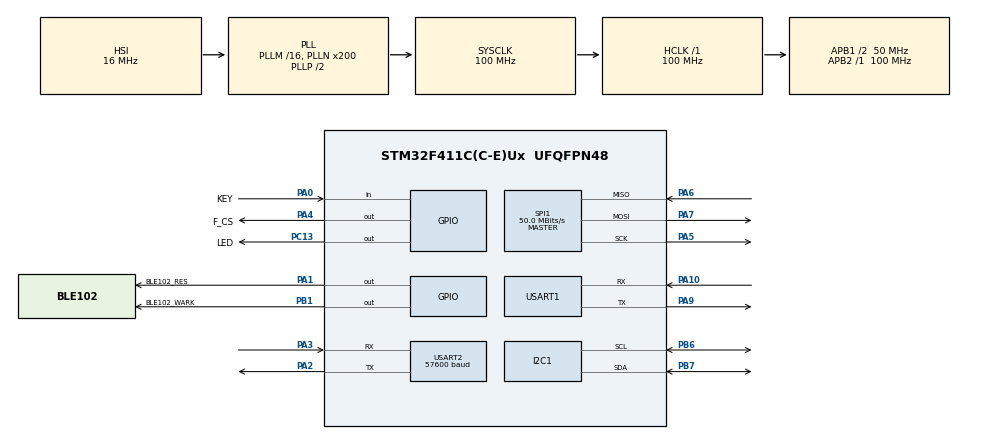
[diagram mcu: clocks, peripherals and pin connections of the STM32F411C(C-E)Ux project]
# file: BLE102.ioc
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Dma.Request0=USART2_TX
Dma.Request1=USART2_RX
Dma.Request2=USART1_RX
Dma.Request3=USART1_TX
Dma.USART1_RX.2.Direction=DMA_PERIPH_TO_MEMORY
Dma.USART1_RX.2.FIFOMode=DMA_FIFOMODE_DISABLE
Dma.USART1_RX.2.Instance=DMA2_Stream2
Dma.USART1_RX.2.MemDataAlignment=DMA_MDATAALIGN_BYTE
Dma.USART1_RX.2.MemInc=DMA_MINC_ENABLE
Dma.USART1_RX.2.Mode=DMA_NORMAL
Dma.USART1_RX.2.PeriphDataAlignment=DMA_PDATAALIGN_BYTE
Dma.USART1_RX.2.PeriphInc=DMA_PINC_DISABLE
Dma.USART1_RX.2.Priority=DMA_PRIORITY_LOW
Dma.USART1_TX.3.Direction=DMA_MEMORY_TO_PERIPH
Dma.USART1_TX.3.FIFOMode=DMA_FIFOMODE_DISABLE
Dma.USART1_TX.3.Instance=DMA2_Stream7
Dma.USART1_TX.3.MemDataAlignment=DMA_MDATAALIGN_BYTE
Dma.USART1_TX.3.MemInc=DMA_MINC_ENABLE
Dma.USART1_TX.3.Mode=DMA_NORMAL
Dma.USART1_TX.3.PeriphDataAlignment=DMA_PDATAALIGN_BYTE
Dma.USART1_TX.3.PeriphInc=DMA_PINC_DISABLE
Dma.USART1_TX.3.Priority=DMA_PRIORITY_LOW
Dma.USART2_RX.1.Direction=DMA_PERIPH_TO_MEMORY
Dma.USART2_RX.1.FIFOMode=DMA_FIFOMODE_DISABLE
Dma.USART2_RX.1.Instance=DMA1_Stream5
Dma.USART2_RX.1.MemDataAlignment=DMA_MDATAALIGN_BYTE
Dma.USART2_RX.1.MemInc=DMA_MINC_ENABLE
Dma.USART2_RX.1.Mode=DMA_NORMAL
Dma.USART2_RX.1.PeriphDataAlignment=DMA_PDATAALIGN_BYTE
Dma.USART2_RX.1.PeriphInc=DMA_PINC_DISABLE
Dma.USART2_RX.1.Priority=DMA_PRIORITY_LOW
Dma.USART2_TX.0.Direction=DMA_MEMORY_TO_PERIPH
Dma.USART2_TX.0.FIFOMode=DMA_FIFOMODE_DISABLE
Dma.USART2_TX.0.Instance=DMA1_Stream6
Dma.USART2_TX.0.MemDataAlignment=DMA_MDATAALIGN_BYTE
Dma.USART2_TX.0.MemInc=DMA_MINC_ENABLE
Dma.USART2_TX.0.Mode=DMA_NORMAL
Dma.USART2_TX.0.PeriphDataAlignment=DMA_PDATAALIGN_BYTE
Dma.USART2_TX.0.PeriphInc=DMA_PINC_DISABLE
Dma.USART2_TX.0.Priority=DMA_PRIORITY_LOW
Mcu.Family=STM32F4
Mcu.Name=STM32F411C(C-E)Ux
Mcu.Package=UFQFPN48
NVIC.DMA1_Stream5_IRQn=true\:0\:0\:false\:true\:true\:1\:false\:true
NVIC.DMA1_Stream6_IRQn=true\:0\:0\:false\:true\:true\:2\:false\:true
NVIC.DMA2_Stream2_IRQn=true\:0\:0\:false\:false\:true\:false\:true
NVIC.DMA2_Stream7_IRQn=true\:0\:0\:false\:false\:true\:false\:true
NVIC.PriorityGroup=NVIC_PRIORITYGROUP_4
NVIC.USART1_IRQn=true\:1\:0\:true\:true\:true\:3\:true\:true
NVIC.USART2_IRQn=true\:6\:0\:true\:true\:true\:4\:true\:true
PA0-WKUP.GPIO_Label=KEY
PA0-WKUP.Signal=GPIO_Input
PA1.GPIO_Label=BLE102_RES
PA1.GPIO_PuPd=GPIO_PULLDOWN
PA1.GPIO_Speed=GPIO_SPEED_FREQ_VERY_HIGH
PA1.PinState=GPIO_PIN_SET
PA1.Signal=GPIO_Output
PA10.Mode=Asynchronous
PA10.Signal=USART1_RX
PA13.Mode=Serial_Wire
PA13.Signal=SYS_JTMS-SWDIO
PA14.Mode=Serial_Wire
PA14.Signal=SYS_JTCK-SWCLK
PA2.Mode=Asynchronous
PA2.Signal=USART2_TX
PA3.Mode=Asynchronous
PA3.Signal=USART2_RX
PA4.GPIO_Label=F_CS
PA4.Signal=GPIO_Output
PA5.Mode=Full_Duplex_Master
PA5.Signal=SPI1_SCK
PA6.Mode=Full_Duplex_Master
PA6.Signal=SPI1_MISO
PA7.Mode=Full_Duplex_Master
PA7.Signal=SPI1_MOSI
PA9.Mode=Asynchronous
PA9.Signal=USART1_TX
PB1.GPIO_Label=BLE102_WARK
PB1.GPIO_PuPd=GPIO_PULLUP
PB1.GPIO_Speed=GPIO_SPEED_FREQ_VERY_HIGH
PB1.PinState=GPIO_PIN_SET
PB1.Signal=GPIO_Output
PB6.Mode=I2C
PB6.Signal=I2C1_SCL
PB7.Mode=I2C
PB7.Signal=I2C1_SDA
PC13-ANTI_TAMP.GPIO_Label=LED
PC13-ANTI_TAMP.Signal=GPIO_Output
PC14-OSC32_IN.Mode=LSE-External-Oscillator
PC14-OSC32_IN.Signal=RCC_OSC32_IN
PC15-OSC32_OUT.Mode=LSE-External-Oscillator
PC15-OSC32_OUT.Signal=RCC_OSC32_OUT
PH0\ -\ OSC_IN.Mode=HSE-External-Oscillator
PH0\ -\ OSC_IN.Signal=RCC_OSC_IN
PH1\ -\ OSC_OUT.Mode=HSE-External-Oscillator
PH1\ -\ OSC_OUT.Signal=RCC_OSC_OUT
ProjectManager.HeapSize=0x200
ProjectManager.StackSize=0x400
ProjectManager.TargetToolchain=MDK-ARM V5.27
RCC.48MHZClocksFreq_Value=50000000
RCC.AHBFreq_Value=100000000
RCC.APB1CLKDivider=RCC_HCLK_DIV2
RCC.APB1Freq_Value=50000000
RCC.APB1TimFreq_Value=100000000
RCC.APB2Freq_Value=100000000
RCC.APB2TimFreq_Value=100000000
RCC.CortexFreq_Value=100000000
RCC.HCLKFreq_Value=100000000
RCC.HSE_VALUE=25000000
RCC.HSI_VALUE=16000000
RCC.PLLN=200
RCC.SYSCLKFreq_VALUE=100000000
RCC.SYSCLKSource=RCC_SYSCLKSOURCE_PLLCLK
RCC.VCOOutputFreq_Value=200000000
SPI1.BaudRatePrescaler=SPI_BAUDRATEPRESCALER_2
SPI1.CalculateBaudRate=50.0 MBits/s
SPI1.Direction=SPI_DIRECTION_2LINES
SPI1.Mode=SPI_MODE_MASTER
SPI1.VirtualType=VM_MASTER
USART1.VirtualMode=VM_ASYNC
USART2.BaudRate=57600
USART2.VirtualMode=VM_ASYNC
board=custom

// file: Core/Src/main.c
/* USER CODE BEGIN Header */
/**
  ******************************************************************************
  * @file           : main.c
  * @brief          : Main program body
  ******************************************************************************
  * @attention
  *
  * <h2><center>&copy; Copyright (c) 2021 STMicroelectronics.
  * All rights reserved.</center></h2>
  *
  * This software component is licensed by ST under BSD 3-Clause license,
  * the "License"; You may not use this file except in compliance with the
  * License. You may obtain a copy of the License at:
  *                        opensource.org/licenses/BSD-3-Clause
  *
  ******************************************************************************
  */
/* USER CODE END Header */
#include "main.h"
#include "dma.h"
#include "i2c.h"
#include "spi.h"
#include "usart.h"
#include "gpio.h"

/* USER CODE BEGIN Includes */
#include "W25Q64.h"
#include "oled.h"
#include "BLE102_Use.h"
//#include "BLE102_Control.h"

#include "bmp.h"
/* USER CODE END Includes */

void SystemClock_Config(void);
static void MX_NVIC_Init(void);

int main(void)
{

  /* MCU Configuration--------------------------------------------------------*/

  /* Reset of all peripherals, Initializes the Flash interface and the Systick. */
  HAL_Init();

  /* Configure the system clock */
  SystemClock_Config();

  /* Initialize all configured peripherals */
  MX_GPIO_Init();
  MX_DMA_Init();
  MX_SPI1_Init();
  MX_USART1_UART_Init();
  MX_USART2_UART_Init();
  MX_I2C1_Init();

  /* Initialize interrupts */
  MX_NVIC_Init();
  /* USER CODE BEGIN 2 */

	HAL_Delay(10);
	printf("开始初始化SPI flash \r\n");
	W25Qx_Init();
	printf("初始化SPI flash成功 \r\n");
	//W25Qx_test();
	BLE102_UASRT_Interrupt_reload(&BLE102_1);
	HAL_NVIC_EnableIRQ(DMA1_Stream5_IRQn);
	HAL_NVIC_EnableIRQ(DMA1_Stream6_IRQn);
	HAL_NVIC_EnableIRQ(DMA2_Stream2_IRQn);
	HAL_NVIC_EnableIRQ(DMA2_Stream7_IRQn);
	//BLE102_Init();
	OLED_Init();

	OLED_Clear();
	BLE102_Init(&BLE102_1);
  /* USER CODE END 2 */

  /* Infinite loop */
  while (1)
  {

  }
}

void SystemClock_Config(void)
{
  RCC_OscInitTypeDef RCC_OscInitStruct = {0};
  RCC_ClkInitTypeDef RCC_ClkInitStruct = {0};

  /** Configure the main internal regulator output voltage
  */
  __HAL_RCC_PWR_CLK_ENABLE();
  __HAL_PWR_VOLTAGESCALING_CONFIG(PWR_REGULATOR_VOLTAGE_SCALE1);
  /** Initializes the RCC Oscillators according to the specified parameters
  * in the RCC_OscInitTypeDef structure.
  */
  RCC_OscInitStruct.OscillatorType = RCC_OSCILLATORTYPE_HSI;
  RCC_OscInitStruct.HSIState = RCC_HSI_ON;
  RCC_OscInitStruct.HSICalibrationValue = RCC_HSICALIBRATION_DEFAULT;
  RCC_OscInitStruct.PLL.PLLState = RCC_PLL_ON;
  RCC_OscInitStruct.PLL.PLLSource = RCC_PLLSOURCE_HSI;
  RCC_OscInitStruct.PLL.PLLM = 16;
  RCC_OscInitStruct.PLL.PLLN = 200;
  RCC_OscInitStruct.PLL.PLLP = RCC_PLLP_DIV2;
  RCC_OscInitStruct.PLL.PLLQ = 4;
  if (HAL_RCC_OscConfig(&RCC_OscInitStruct) != HAL_OK)
  {
    Error_Handler();
  }
  /** Initializes the CPU, AHB and APB buses clocks
  */
  RCC_ClkInitStruct.ClockType = RCC_CLOCKTYPE_HCLK|RCC_CLOCKTYPE_SYSCLK
                              |RCC_CLOCKTYPE_PCLK1|RCC_CLOCKTYPE_PCLK2;
  RCC_ClkInitStruct.SYSCLKSource = RCC_SYSCLKSOURCE_PLLCLK;
  RCC_ClkInitStruct.AHBCLKDivider = RCC_SYSCLK_DIV1;
  RCC_ClkInitStruct.APB1CLKDivider = RCC_HCLK_DIV2;
  RCC_ClkInitStruct.APB2CLKDivider = RCC_HCLK_DIV1;

  if (HAL_RCC_ClockConfig(&RCC_ClkInitStruct, FLASH_LATENCY_3) != HAL_OK)
  {
    Error_Handler();
  }
}

/**
  * @brief NVIC Configuration.
  * @retval None
  */
static void MX_NVIC_Init(void)
{
  /* DMA1_Stream5_IRQn interrupt configuration */
  HAL_NVIC_SetPriority(DMA1_Stream5_IRQn, 0, 0);
  HAL_NVIC_EnableIRQ(DMA1_Stream5_IRQn);
  /* DMA1_Stream6_IRQn interrupt configuration */
  HAL_NVIC_SetPriority(DMA1_Stream6_IRQn, 0, 0);
  HAL_NVIC_EnableIRQ(DMA1_Stream6_IRQn);
  /* USART1_IRQn interrupt configuration */
  HAL_NVIC_SetPriority(USART1_IRQn, 1, 0);
  HAL_NVIC_EnableIRQ(USART1_IRQn);
  /* USART2_IRQn interrupt configuration */
  HAL_NVIC_SetPriority(USART2_IRQn, 6, 0);
  HAL_NVIC_EnableIRQ(USART2_IRQn);
}

void Error_Handler(void)
{
  __disable_irq();
  while (1)
  {
  }
}

/************************ (C) COPYRIGHT STMicroelectronics *****END OF FILE****/
